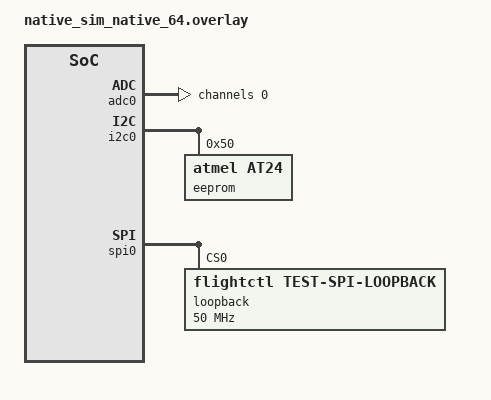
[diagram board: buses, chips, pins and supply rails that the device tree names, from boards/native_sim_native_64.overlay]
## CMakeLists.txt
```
# The Zephyr port's hardware for apps (port/zephyr/fc_hw_zephyr.c) against
# native_sim's emulated drivers: GPIO, ADC, PWM, I2C with an AT24 EEPROM,
# SPI with a loopback device, UART with loopback. A ztest suite, built and
# run with tests/zephyr-hw.sh.
cmake_minimum_required(VERSION 3.20)
set(ROOT ${CMAKE_CURRENT_LIST_DIR}/../..)
list(APPEND DTS_ROOT ${ROOT}/port/zephyr ${CMAKE_CURRENT_LIST_DIR})
find_package(Zephyr REQUIRED HINTS $ENV{ZEPHYR_BASE})
project(fc_zephyr_hw)
target_compile_definitions(app PRIVATE FC_TEST_RS485=1)
target_include_directories(app PRIVATE ${ROOT}/core/include ${ROOT}/third_party/cjson)
target_sources(app PRIVATE src/main.c src/spi_loopback.c ${ROOT}/port/zephyr/fc_hw_zephyr.c ${ROOT}/third_party/cjson/cJSON.c)
target_sources(app PRIVATE src/nrf_temperature.c ${ROOT}/port/zephyr/nrf5340/temperature.c)
```

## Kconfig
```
# Exercise the physical board map against native_sim's peripheral drivers.
config FC_PHYSICAL_APP_HW
    default y

rsource "../../port/zephyr/Kconfig"
```

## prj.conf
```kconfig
CONFIG_ZTEST=y
CONFIG_EMUL=y
CONFIG_GPIO=y
CONFIG_ADC=y
CONFIG_PWM=y
CONFIG_I2C=y
CONFIG_EEPROM=y
CONFIG_EEPROM_AT24=y
CONFIG_EEPROM_AT2X_EMUL=y
CONFIG_SPI=y
CONFIG_SERIAL=y
CONFIG_UART_INTERRUPT_DRIVEN=y
CONFIG_UART_USE_RUNTIME_CONFIGURE=y
CONFIG_SENSOR=y
CONFIG_IPC_SERVICE=y
```

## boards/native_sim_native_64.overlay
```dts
/* The board map's names on native_sim's emulated drivers. */
/ {
    temp_ipc: temperature-ipc { compatible = "flightctl,test-ipc"; };
    die_probe: die-temperature {
        compatible = "flightctl,nrf5340-die-temp";
        ipc = <&temp_ipc>;
    };
	test_probe: temperature-probe {
		compatible = "flightctl,test-temperature";
	};
	polled_probe: polled-probe { compatible = "flightctl,test-temperature"; };
	fc-hw {
		compatible = "flightctl,app-hw";
		core-temperature { temperature-sensor = <&die_probe>; die-temperature; };
		polled-temperature { temperature-sensor = <&polled_probe>; die-temperature; };
		probe { temperature-sensor = <&test_probe>; };
		probe-alias { temperature-sensor = <&test_probe>; };
		relay1 {
			gpios = <&gpio0 5 GPIO_ACTIVE_HIGH>;
			safe = <0>;
		};
		button0 {
			gpios = <&gpio0 6 GPIO_ACTIVE_LOW>;
		};
		level {
			io-channels = <&adc0 0>;
		};
		fan {
			pwms = <&pwm0 0 1000000>;
		};
		sensors {
			i2c-bus = <&i2c0>;
			clock-frequency = <100000>; /* the AT24 emulator refuses faster buses */
		};
		flash {
			spi-bus = <&spi0>;
			cs-gpios = <&gpio0 7 GPIO_ACTIVE_LOW>;
			spi-mode = <3>;
		};
		other {
			spi-bus = <&spi0>;
			cs-gpios = <&gpio0 8 GPIO_ACTIVE_LOW>;
		};
		serial {
			uart = <&euart0>;
			current-speed = <9600>;
		};
		rs485 {
			uart = <&euart1>;
			de-gpios = <&gpio0 9 GPIO_ACTIVE_LOW>;
		};
		rs485-alias {
			uart = <&euart1>;
		};
		rs485-shared-de {
			uart = <&euart0>;
			de-gpios = <&gpio0 9 GPIO_ACTIVE_HIGH>;
		};
		rs485-unsupported {
			uart = <&euart0>;
			de-gpios = <&gpio0 10 GPIO_ACTIVE_HIGH>;
		};
		console {
			uart = <&uart0>;
		};
	};

	pwm0: pwm {
		compatible = "zephyr,fake-pwm";
		#pwm-cells = <2>;
		frequency = <1000000>;
	};

	euart0: uart-emul0 {
		compatible = "zephyr,uart-emul";
		current-speed = <115200>;
		loopback;
	};

	euart1: uart-emul1 {
		compatible = "zephyr,uart-emul";
		current-speed = <115200>;
	};
};

&adc0 {
	ref-internal-mv = <3300>;
	#address-cells = <1>;
	#size-cells = <0>;
	channel@0 {
		reg = <0>;
		zephyr,gain = "ADC_GAIN_1";
		zephyr,reference = "ADC_REF_INTERNAL";
		zephyr,acquisition-time = <ADC_ACQ_TIME_DEFAULT>;
		zephyr,resolution = <12>;
	};
};

&i2c0 {
	eeprom: eeprom@50 {
		compatible = "atmel,at24";
		reg = <0x50>;
		size = <256>;
		pagesize = <8>;
		address-width = <8>;
		timeout = <5>;
	};
};

&spi0 {
	loopback: loopback@0 {
		compatible = "flightctl,test-spi-loopback";
		reg = <0>;
		spi-max-frequency = <50000000>;
	};
};
```

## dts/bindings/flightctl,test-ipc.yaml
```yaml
description: Test endpoint for delivering nRF5340 temperature samples.
compatible: "flightctl,test-ipc"
```

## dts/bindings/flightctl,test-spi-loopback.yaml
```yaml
description: A test SPI device that sends back what it is sent (tests/zephyr-hw).
compatible: "flightctl,test-spi-loopback"
include: spi-device.yaml
```

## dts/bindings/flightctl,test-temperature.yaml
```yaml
description: Test temperature probe with explicit data-ready and window triggers.
compatible: "flightctl,test-temperature"
include: sensor-device.yaml
```

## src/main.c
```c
/*
 * port/zephyr/fc_hw_zephyr.c on native_sim's emulated drivers, called as the
 * core calls it: the names from the devicetree (the board's overlay), GPIO with
 * interrupts, ADC, PWM, I2C (an AT24 EEPROM at 0x50), SPI (a loopback
 * device, src/spi_loopback.c), UART (wired back to itself).
 */
#include <stdlib.h>
#include <string.h>

#include <zephyr/device.h>
#include <zephyr/drivers/adc/adc_emul.h>
#include <zephyr/drivers/gpio/gpio_emul.h>
#include <zephyr/drivers/pwm/pwm_fake.h>
#include <zephyr/drivers/sensor.h>
#include <zephyr/drivers/serial/uart_emul.h>
#include <zephyr/fff.h>
#include <zephyr/kernel.h>
#include <zephyr/ztest.h>

#include "fc_hw.h"

DEFINE_FFF_GLOBALS; /* for the fake PWM */

void fc_hw_zephyr_fill(fc_hw_t *hw);

static fc_hw_t hw;
static const struct device *const gpio0 = DEVICE_DT_GET(DT_NODELABEL(gpio0));

static int id(int kind, const char *name)
{
    return hw.dt_find(kind, name);
}

static void *setup(void)
{
    fc_hw_zephyr_fill(&hw);
    return NULL;
}

ZTEST(fc_hw, test_names)
{
    char *s = hw.board_defaults();
    zassert_not_null(s);
    zassert_not_null(strstr(s, "\"relay1\":{\"dt\":\"relay1\",\"safe\":0}"), "%s", s);
    zassert_not_null(strstr(s, "\"button0\":{\"dt\":\"button0\",\"active_low\":true}"), "%s", s);
    zassert_not_null(strstr(s, "\"led0\":{\"dt\":\"led0\"}"), "%s", s);
    zassert_not_null(strstr(s, "\"level\":{\"dt\":\"level\"}"), "%s", s);
    zassert_not_null(strstr(s, "\"flash\":{\"dt\":\"flash\"}"), "%s", s);
    zassert_is_null(strstr(s, "console"), "the console's UART is not offered: %s", s);
    free(s);
    zassert_true(id(FC_HW_KIND_GPIO, "relay1") >= 0);
    zassert_equal(id(FC_HW_KIND_ADC, "relay1"), -1, "a GPIO is not an ADC channel");
    zassert_equal(id(FC_HW_KIND_UART, "console"), -1);
    zassert_equal(id(FC_HW_KIND_GPIO, "nope"), -1);
    zassert_equal(id(FC_HW_KIND_LED, "simulated"), -1);
}

ZTEST(fc_hw, test_gpio_led)
{
    const fc_hw_led_t led = {.pin = id(FC_HW_KIND_LED, "led0")};
    const struct gpio_dt_spec pin = GPIO_DT_SPEC_GET(DT_ALIAS(led0), gpios);
    zassert_true(led.pin >= 0);
    zassert_ok(hw.led_open(&led));
    zassert_equal(gpio_emul_output_get(pin.port, pin.pin), 0);
    zassert_ok(hw.led_rgb(&led, 0, 0, 40));
    zassert_equal(gpio_emul_output_get(pin.port, pin.pin), 1);
    hw.led_close(&led);
    zassert_equal(gpio_emul_output_get(pin.port, pin.pin), 0);
}

static int s_edges;
static void on_edge(void *ctx)
{
    (*(int *)ctx)++;
}

/* A Zephyr sensor driver whose conversions and interrupts the test controls. */
static const struct sensor_trigger *probe_trigger;
static sensor_trigger_handler_t probe_handler;
static int32_t probe_low, probe_high;

static int probe_set(const struct device *dev, enum sensor_channel channel, enum sensor_attribute attr,
                     const struct sensor_value *value)
{
    if (channel != SENSOR_CHAN_AMBIENT_TEMP) return -ENOTSUP;
    if (attr == SENSOR_ATTR_LOWER_THRESH) {
        probe_low = sensor_value_to_milli(value);
    } else if (attr == SENSOR_ATTR_UPPER_THRESH) {
        probe_high = sensor_value_to_milli(value);
    } else {
        return -ENOTSUP;
    }
    return 0;
}

static int probe_arm(const struct device *dev, const struct sensor_trigger *trigger, sensor_trigger_handler_t handler)
{
    probe_trigger = trigger;
    probe_handler = handler;
    return 0;
}

static DEVICE_API(sensor, probe_api) = {.attr_set = probe_set, .trigger_set = probe_arm};
SENSOR_DEVICE_DT_DEFINE(DT_NODELABEL(test_probe), NULL, NULL, NULL, NULL, POST_KERNEL, CONFIG_SENSOR_INIT_PRIORITY, &probe_api);

/* Each subscription replays one failed conversion followed by five samples. */
static K_SEM_DEFINE(conversions, 0, K_SEM_MAX_LIMIT);
static size_t conversion;
static const int trace_mc[] = {0, 750, 1250, 1500, 1000, 250};

static int polled_fetch(const struct device *dev, enum sensor_channel chan)
{
    conversion++;
    k_sem_give(&conversions);
    return conversion == 1 || conversion > ARRAY_SIZE(trace_mc) ? -EIO : 0;
}

static int polled_get(const struct device *dev, enum sensor_channel chan, struct sensor_value *value)
{
    if (chan != SENSOR_CHAN_DIE_TEMP) {
        return -ENOTSUP;
    }
    return sensor_value_from_milli(value, trace_mc[conversion - 1]);
}

static DEVICE_API(sensor, polled_api) = {.sample_fetch = polled_fetch, .channel_get = polled_get};
SENSOR_DEVICE_DT_DEFINE(DT_NODELABEL(polled_probe), NULL, NULL, NULL, NULL, POST_KERNEL,
                        CONFIG_SENSOR_INIT_PRIORITY, &polled_api);

ZTEST(fc_hw, test_polled_die_temperature)
{
    int probe = id(FC_HW_KIND_SENSOR, "polled-temperature");
    const int modes[] = {FC_HW_SENSOR_READY, FC_HW_SENSOR_THRESHOLD};
    for (int i = 0; i < ARRAY_SIZE(modes); i++) {
        int delivered = 0;
        conversion = 0;
        k_sem_reset(&conversions);
        int token = hw.sensor_subscribe(probe, modes[i], 250, 1250, on_edge, &delivered);
        zassert_equal(token, probe);
        zassert_equal(hw.sensor_subscribe(probe, modes[i], 250, 1250, on_edge, &delivered), FC_HW_EBUSY);
        for (int j = 0; j < ARRAY_SIZE(trace_mc); j++) {
            k_sem_take(&conversions, K_FOREVER);
        }
        hw.sensor_unsubscribe(token);
        zassert_equal(delivered, modes[i] == FC_HW_SENSOR_READY ? 5 : 3);
    }
}

ZTEST(fc_hw, test_sensor_triggers)
{
    const struct device *dev = DEVICE_DT_GET(DT_NODELABEL(test_probe));
    int probe = id(FC_HW_KIND_SENSOR, "probe"), alias = id(FC_HW_KIND_SENSOR, "probe-alias"), delivered = 0;
    zassert_true(probe >= 0 && alias >= 0);
    int token = hw.sensor_subscribe(probe, FC_HW_SENSOR_READY, 0, 0, on_edge, &delivered);
    zassert_true(token >= 0);
    zassert_equal(probe_trigger->type, SENSOR_TRIG_DATA_READY);
    zassert_equal(probe_trigger->chan, SENSOR_CHAN_AMBIENT_TEMP);
    probe_handler(dev, probe_trigger);
    zassert_equal(delivered, 1);
    zassert_equal(hw.sensor_subscribe(alias, FC_HW_SENSOR_THRESHOLD, -2500, 21250, on_edge, &delivered), FC_HW_EBUSY);
    sensor_trigger_handler_t late = probe_handler;
    const struct sensor_trigger *old = probe_trigger;
    hw.sensor_unsubscribe(token);
    zassert_is_null(probe_handler);
    late(dev, old);
    zassert_equal(delivered, 1);
    token = hw.sensor_subscribe(alias, FC_HW_SENSOR_THRESHOLD, -2500, 21250, on_edge, &delivered);
    zassert_true(token >= 0);
    zassert_equal(probe_low, -2500);
    zassert_equal(probe_high, 21250);
    zassert_equal(probe_trigger->type, SENSOR_TRIG_THRESHOLD);
    late(dev, old);
    zassert_equal(delivered, 1);
    probe_handler(dev, probe_trigger);
    zassert_equal(delivered, 2);
    hw.sensor_unsubscribe(token);
    zassert_is_null(probe_handler);
}

ZTEST(fc_hw, test_gpio)
{
    int r = id(FC_HW_KIND_GPIO, "relay1"), b = id(FC_HW_KIND_GPIO, "button0");
    zassert_ok(hw.gpio_setup(r, FC_HW_GPIO_OUT));
    zassert_ok(hw.gpio_write(r, 1));
    zassert_equal(gpio_emul_output_get(gpio0, 5), 1);
    zassert_ok(hw.gpio_write(r, 0));
    zassert_equal(gpio_emul_output_get(gpio0, 5), 0);
    /* Raw levels: the core makes button0 logical (active low). */
    zassert_ok(hw.gpio_setup(b, FC_HW_GPIO_IN_PULLUP));
    gpio_emul_input_set(gpio0, 6, 0);
    zassert_equal(hw.gpio_read(b), 0);
    gpio_emul_input_set(gpio0, 6, 1);
    zassert_equal(hw.gpio_read(b), 1);
    /* Edges reach the callback, from a work item; none once it is off. */
    s_edges = 0;
    zassert_ok(hw.gpio_irq(b, 3, on_edge, &s_edges));
    gpio_emul_input_set(gpio0, 6, 0);
    k_msleep(20);
    gpio_emul_input_set(gpio0, 6, 1);
    k_msleep(20);
    zassert_equal(s_edges, 2);
    zassert_ok(hw.gpio_irq(b, 1, on_edge, &s_edges)); /* rising only */
    gpio_emul_input_set(gpio0, 6, 0);
    k_msleep(20);
    zassert_equal(s_edges, 2);
    gpio_emul_input_set(gpio0, 6, 1);
    k_msleep(20);
    zassert_equal(s_edges, 3);
    zassert_ok(hw.gpio_irq(b, 0, NULL, NULL));
    gpio_emul_input_set(gpio0, 6, 0);
    k_msleep(20);
    zassert_equal(s_edges, 3);
    hw.gpio_release(r);
    hw.gpio_release(b);
}

ZTEST(fc_hw, test_adc)
{
    int a = hw.adc_open(id(FC_HW_KIND_ADC, "level"));
    zassert_true(a >= 0, "%d", a);
    zassert_ok(adc_emul_const_value_set(DEVICE_DT_GET(DT_NODELABEL(adc0)), 0, 1650));
    int mv = hw.adc_read_mv(a);
    zassert_true(mv >= 1645 && mv <= 1655, "%d mV", mv);
    hw.adc_close(a);
}

ZTEST(fc_hw, test_pwm)
{
    int p = hw.pwm_open(id(FC_HW_KIND_PWM, "fan"), 1000);
    zassert_true(p >= 0, "%d", p);
    /* The fake counts at 1 MHz: 1 kHz is 1000 cycles. */
    zassert_equal(fake_pwm_set_cycles_fake.arg2_val, 1000);
    zassert_equal(fake_pwm_set_cycles_fake.arg3_val, 0, "starts off");
    zassert_ok(hw.pwm_duty(p, 32768));
    zassert_equal(fake_pwm_set_cycles_fake.arg3_val, 500);
    zassert_ok(hw.pwm_duty(p, 65535));
    zassert_equal(fake_pwm_set_cycles_fake.arg3_val, 1000);
    hw.pwm_close(p);
    zassert_equal(fake_pwm_set_cycles_fake.arg3_val, 0, "low when closed");
    zassert_equal(hw.pwm_open(id(FC_HW_KIND_PWM, "fan"), 0), FC_HW_EINVAL);
}

ZTEST(fc_hw, test_i2c)
{
    fc_hw_bus_t bus = {.dt = id(FC_HW_KIND_I2C, "sensors")};
    int b = hw.i2c_open(&bus);
    zassert_true(b >= 0, "%d", b);
    uint8_t w[2] = {0x10, 0xAB}, r = 0;
    int rc = hw.i2c_transfer(b, 0x50, w, 2, NULL, 0, 100);
    zassert_equal(rc, 0, "write: %d", rc);
    zassert_ok(hw.i2c_transfer(b, 0x50, w, 1, &r, 1, 100));
    zassert_equal(r, 0xAB);
    zassert_equal(hw.i2c_transfer(b, 0x60, NULL, 0, &r, 1, 100), FC_HW_EIO, "no device at 0x60");
    hw.i2c_close(b);
}

ZTEST(fc_hw, test_spi)
{
    fc_hw_bus_t fb = {.dt = id(FC_HW_KIND_SPI, "flash")}, ob = {.dt = id(FC_HW_KIND_SPI, "other")};
    int f = hw.spi_open(&fb), o = hw.spi_open(&ob);
    zassert_true(f >= 0 && o >= 0, "%d %d", f, o);
    zassert_equal(gpio_emul_output_get(gpio0, 7), 1, "not selected (active low)");
    uint8_t tx[100], rx[100];
    for (int i = 0; i < 100; i++) {
        tx[i] = (uint8_t)i;
    }
    memset(rx, 0, sizeof(rx));
    zassert_ok(hw.spi_transfer(f, tx, rx, sizeof(tx), 0, 100));
    zassert_mem_equal(rx, tx, sizeof(tx));
    zassert_equal(gpio_emul_output_get(gpio0, 7), 1);
    /* Nothing to send: 0xFF. */
    zassert_ok(hw.spi_transfer(f, NULL, rx, 70, 0, 100));
    zassert_equal(rx[0], 0xFF);
    zassert_equal(rx[69], 0xFF);
    /* A kept chip select holds the bus: the other device waits, then gives up. */
    zassert_ok(hw.spi_transfer(f, tx, rx, 4, 1, 100));
    zassert_equal(gpio_emul_output_get(gpio0, 7), 0, "selected");
    int64_t t0 = k_uptime_get();
    zassert_equal(hw.spi_transfer(o, tx, rx, 4, 0, 100), FC_HW_EBUSY);
    zassert_true(k_uptime_get() - t0 >= 100);
    hw.spi_release(f);
    zassert_equal(gpio_emul_output_get(gpio0, 7), 1);
    zassert_ok(hw.spi_transfer(o, tx, rx, 4, 0, 100));
    /* Closed while kept: let go. */
    zassert_ok(hw.spi_transfer(f, tx, rx, 4, 1, 100));
    hw.spi_close(f);
    zassert_ok(hw.spi_transfer(o, tx, rx, 4, 0, 100));
    hw.spi_close(o);
}

static int s_uart_calls, s_uart_waiting;
static void on_uart(void *ctx, int n)
{
    s_uart_calls++;
    s_uart_waiting = n;
}

ZTEST(fc_hw, test_uart)
{
    fc_hw_bus_t ub = {.dt = id(FC_HW_KIND_UART, "serial")};
    s_uart_calls = 0;
    int u = hw.uart_open(&ub, 9600, FC_HW_UART_8E1, on_uart, NULL);
    zassert_true(u >= 0, "%d", u);
    zassert_equal(hw.uart_write(u, (const uint8_t *)"hi", 2, 100), 2);
    for (int i = 0; i < 50 && s_uart_waiting < 2; i++) {
        k_msleep(2);
    }
    zassert_true(s_uart_calls >= 1);
    zassert_equal(s_uart_waiting, 2);
    uint8_t buf[8];
    zassert_equal(hw.uart_read(u, buf, sizeof(buf), 10), 2);
    zassert_mem_equal(buf, "hi", 2);
    int64_t t0 = k_uptime_get();
    zassert_equal(hw.uart_read(u, buf, sizeof(buf), 30), 0, "nothing waiting");
    zassert_true(k_uptime_get() - t0 >= 30);
    hw.uart_close(u);
    int calls = s_uart_calls;
    /* Closed: the port no longer calls. */
    u = hw.uart_open(&ub, 0 + 9600, FC_HW_UART_8N1, on_uart, NULL);
    hw.uart_close(u);
    k_msleep(20);
    zassert_equal(s_uart_calls, calls);
}

/* The emulated UART provides the FIFO. Draining it moves the character
 * into the modeled shift register; only the test completes its stop bit. */
static const struct device *const rs_uart = DEVICE_DT_GET(DT_NODELABEL(euart1));
static atomic_t shift_busy, fifo_blocked;
static K_SEM_DEFINE(rs_queued, 0, 1);
static K_SEM_DEFINE(rs_idle_seen, 0, 1);
static K_SEM_DEFINE(rs_writer_done, 0, 1);
static K_SEM_DEFINE(rs_reply_ready, 0, 1);
static const uint8_t rs_reply[] = {0x00, 0x52, 0xff};
static struct gpio_callback rs_peer;
static struct k_thread rs_writer;
static K_THREAD_STACK_DEFINE(rs_stack, 1536);
static int rs_handle, rs_result, rs_queued_count;
static bool block_after_byte;

int fc_test_uart_tx_state(const struct device *dev, bool *room, bool *idle)
{
    if (dev != rs_uart) {
        return FC_HW_ENOTSUP;
    }
    *room = !atomic_get(&fifo_blocked);
    *idle = !atomic_get(&shift_busy);
    if (*idle) {
        k_sem_give(&rs_idle_seen);
    }
    return 0;
}

static void rs_byte_queued(const struct device *dev, size_t size, void *ctx)
{
    uint8_t byte;
    zassert_equal(gpio_emul_output_get(gpio0, 9), 0, "DE active before loading FIFO");
    zassert_equal(uart_emul_get_tx_data(dev, &byte, 1), 1);
    zassert_equal(byte, 'A');
    rs_queued_count++;
    atomic_set(&shift_busy, 1);
    if (block_after_byte) {
        atomic_set(&fifo_blocked, 1);
    }
    k_sem_give(&rs_queued);
}

static void rs_write(void *a, void *b, void *c)
{
    rs_result = hw.uart_write(rs_handle, (const uint8_t *)"A", 1, 1000);
    k_sem_give(&rs_writer_done);
}

/* Wired to active-low DE after the peer has received 'A'. Put a distinct
 * reply on RX as soon as the driver releases the emulated bus. */
static void rs_peer_reply(const struct device *dev, struct gpio_callback *cb, gpio_port_pins_t pins)
{
    zassert_equal(gpio_emul_output_get(dev, 9), 1);
    zassert_false(atomic_get(&shift_busy), "DE released before the final stop bit");
    zassert_equal(uart_emul_put_rx_data(rs_uart, rs_reply, sizeof(rs_reply)), sizeof(rs_reply));
}

static void rs_rx_ready(void *ctx, int waiting)
{
    if (waiting >= sizeof(rs_reply)) {
        k_sem_give(&rs_reply_ready);
    }
}

ZTEST(fc_hw, test_rs485_waits_for_the_shift_register)
{
    atomic_clear(&shift_busy);
    atomic_clear(&fifo_blocked);
    rs_queued_count = 0;
    block_after_byte = false;
    k_sem_reset(&rs_queued);
    k_sem_reset(&rs_writer_done);
    k_sem_reset(&rs_reply_ready);
    fc_hw_bus_t bus = {.dt = id(FC_HW_KIND_UART, "rs485")};
    fc_hw_bus_t alias = {.dt = id(FC_HW_KIND_UART, "rs485-alias")};
    fc_hw_bus_t shared_de = {.dt = id(FC_HW_KIND_UART, "rs485-shared-de")};
    fc_hw_bus_t unsupported = {.dt = id(FC_HW_KIND_UART, "rs485-unsupported")};
    zassert_equal(hw.uart_open(&unsupported, 9600, FC_HW_UART_8N1, on_uart, NULL), FC_HW_ENOTSUP);
    rs_handle = hw.uart_open(&bus, 9600, FC_HW_UART_8N2, rs_rx_ready, NULL);
    zassert_true(rs_handle >= 0);
    zassert_equal(gpio_emul_output_get(gpio0, 9), 1, "inactive at open");
    zassert_equal(hw.uart_open(&alias, 9600, FC_HW_UART_8N1, on_uart, NULL), FC_HW_EBUSY);
    zassert_equal(hw.uart_open(&shared_de, 9600, FC_HW_UART_8N1, on_uart, NULL), FC_HW_EBUSY);
    fc_hw_bus_t serial = {.dt = id(FC_HW_KIND_UART, "serial")};
    int ordinary = hw.uart_open(&serial, 9600, FC_HW_UART_8N1, on_uart, NULL);
    zassert_true(ordinary >= 0);
    uart_emul_callback_tx_data_ready_set(rs_uart, rs_byte_queued, NULL);
    k_thread_create(&rs_writer, rs_stack, K_THREAD_STACK_SIZEOF(rs_stack), rs_write,
                    NULL, NULL, NULL, K_PRIO_PREEMPT(4), 0, K_NO_WAIT);
    zassert_ok(k_sem_take(&rs_queued, K_SECONDS(2)));
    zassert_equal(gpio_emul_output_get(gpio0, 9), 0, "empty FIFO, stop bit still on the wire");
    zassert_equal(hw.uart_write(rs_handle, (const uint8_t *)"B", 1, 0), FC_HW_EBUSY);
    zassert_equal(hw.uart_write(ordinary, (const uint8_t *)"X", 1, 20), 1, "independent port");
    gpio_init_callback(&rs_peer, rs_peer_reply, BIT(9));
    zassert_ok(gpio_add_callback(gpio0, &rs_peer));
    atomic_clear(&shift_busy);
    zassert_ok(k_sem_take(&rs_writer_done, K_SECONDS(2)));
    zassert_ok(k_thread_join(&rs_writer, K_SECONDS(2)));
    hw.uart_close(ordinary);
    zassert_equal(rs_result, 1);
    zassert_equal(gpio_emul_output_get(gpio0, 9), 1, "DE released on completion");
    zassert_ok(gpio_remove_callback(gpio0, &rs_peer));
    zassert_ok(k_sem_take(&rs_reply_ready, K_SECONDS(2)));
    uint8_t received[sizeof(rs_reply)];
    zassert_equal(hw.uart_read(rs_handle, received, sizeof(received), 0), sizeof(received));
    zassert_mem_equal(received, rs_reply, sizeof(received));
    /* The second byte cannot enter the FIFO before the caller's deadline.
     * Close during the last stop bit must preserve DE and the UART claim. */
    block_after_byte = true;
    zassert_equal(hw.uart_write(rs_handle, (const uint8_t *)"AB", 2, 20), 1);
    zassert_equal(rs_queued_count, 2);
    hw.uart_close(rs_handle);
    zassert_equal(gpio_emul_output_get(gpio0, 9), 0);
    zassert_equal(hw.uart_open(&alias, 9600, FC_HW_UART_8N1, on_uart, NULL), FC_HW_EBUSY);
    k_sem_reset(&rs_idle_seen);
    atomic_clear(&shift_busy);
    zassert_ok(k_sem_take(&rs_idle_seen, K_SECONDS(2)));
    int next = hw.uart_open(&alias, 9600, FC_HW_UART_8N1, on_uart, NULL);
    zassert_true(next >= 0);
    zassert_equal(gpio_emul_output_get(gpio0, 9), 1);
    hw.uart_close(next);
    uart_emul_callback_tx_data_ready_set(rs_uart, NULL, NULL);
}

ZTEST_SUITE(fc_hw, NULL, setup, NULL, NULL, NULL);
```

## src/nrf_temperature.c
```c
/* Feed the application-core driver the wire format used by the network core. */
#include <string.h>

#include <zephyr/device.h>
#include <zephyr/ipc/ipc_service_backend.h>
#include <zephyr/kernel.h>
#include <zephyr/sys/byteorder.h>
#include <zephyr/ztest.h>

#include "fc_hw.h"

void fc_hw_zephyr_fill(fc_hw_t *hw);

static const struct ipc_ept_cfg *endpoint;

static int register_endpoint(const struct device *dev, void **token, const struct ipc_ept_cfg *cfg)
{
    endpoint = cfg;
    return 0;
}

static const struct ipc_service_backend backend = {.register_endpoint = register_endpoint};
DEVICE_DT_DEFINE(DT_NODELABEL(temp_ipc), NULL, NULL, NULL, NULL, POST_KERNEL,
                 CONFIG_IPC_SERVICE_REG_BACKEND_PRIORITY, &backend);

static void send_sample(int32_t mc)
{
    uint8_t data[4];
    sys_put_le32((uint32_t)mc, data);
    endpoint->cb.received(data, sizeof(data), endpoint->priv);
    k_work_queue_drain(&k_sys_work_q, false);
}

static void count_event(void *ctx)
{
    (*(int *)ctx)++;
}

ZTEST(fc_hw, test_nrf_temperature)
{
    fc_hw_t hw = {0};
    fc_hw_zephyr_fill(&hw);
    zassert_not_null(endpoint);
    zassert_equal(strcmp(endpoint->name, "fc-die-temp"), 0);
    int id = hw.dt_find(FC_HW_KIND_SENSOR, "core-temperature");
    int32_t mc = 12345;
    int events = 0;
    zassert_true(id >= 0);
    zassert_equal(hw.sensor_read("die_temp", &mc), FC_HW_EIO);
    zassert_equal(mc, 12345);

    int token = hw.sensor_subscribe(-1, FC_HW_SENSOR_READY, 0, 0, count_event, &events);
    zassert_equal(token, id);
    send_sample(-250);
    zassert_equal(events, 1);
    zassert_ok(hw.sensor_read("die_temp", &mc));
    zassert_equal(mc, -250);
    hw.sensor_unsubscribe(token);

    token = hw.sensor_subscribe(id, FC_HW_SENSOR_THRESHOLD, 250, 1250, count_event, &events);
    zassert_equal(token, id);
    send_sample(750);
    send_sample(1250);
    send_sample(1500);
    send_sample(1000);
    send_sample(250);
    zassert_equal(events, 4);
    zassert_ok(hw.sensor_read_dt(id, &mc));
    zassert_equal(mc, 250);
    hw.sensor_unsubscribe(token);
    send_sample(750);
    zassert_equal(events, 4);
    k_sleep(K_SECONDS(4));
    zassert_equal(hw.sensor_read("die_temp", &mc), FC_HW_EIO);
    zassert_equal(mc, 250);
}
```

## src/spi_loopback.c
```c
/* An emulated SPI device that sends back what it is sent. */
#define DT_DRV_COMPAT flightctl_test_spi_loopback

#include <string.h>

#include <zephyr/device.h>
#include <zephyr/drivers/emul.h>
#include <zephyr/drivers/spi.h>
#include <zephyr/drivers/spi_emul.h>

static int lb_io(const struct emul *target, const struct spi_config *config, const struct spi_buf_set *tx,
                 const struct spi_buf_set *rx)
{
    if (tx != NULL && rx != NULL && tx->count > 0 && rx->count > 0 && rx->buffers[0].buf != NULL) {
        size_t n = MIN(tx->buffers[0].len, rx->buffers[0].len);
        memcpy(rx->buffers[0].buf, tx->buffers[0].buf, n);
    }
    return 0;
}

static struct spi_emul_api lb_api = {.io = lb_io};

static int lb_emul_init(const struct emul *target, const struct device *parent) { return 0; }

DEVICE_DT_INST_DEFINE(0, NULL, NULL, NULL, NULL, POST_KERNEL, 99, NULL);
EMUL_DT_INST_DEFINE(0, lb_emul_init, NULL, NULL, &lb_api, NULL);
```
